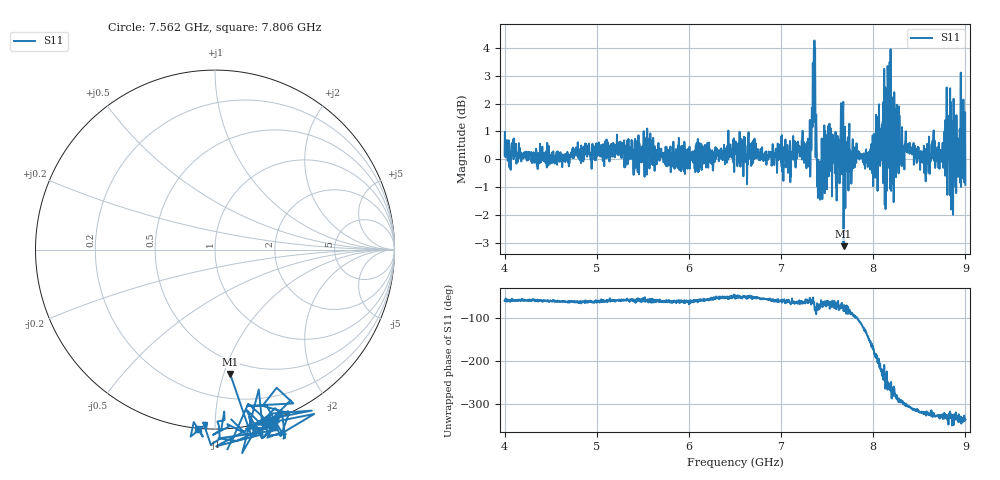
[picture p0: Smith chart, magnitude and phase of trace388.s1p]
! Created with skrf 1.8.0 (http://scikit-rf.org).
# Hz S RI R 50.0
!freq ReS11 ImS11
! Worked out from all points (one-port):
!   1601 points, 4 GHz to 9 GHz, reference 50 ohm
!   lowest |S11| = -3.1 dB at 7.678 GHz (marker M1), VSWR 5.62, Z = 19.5 - j52.6 ohm
!   |S11| at or under -10 dB: nowhere
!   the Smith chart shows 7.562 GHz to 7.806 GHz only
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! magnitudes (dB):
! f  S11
! 4 GHz  0.1
! 4.625 GHz  -0.3
! 5.25 GHz  0.2
! 5.875 GHz  -0.2
! 6.5 GHz  0.5
! 7.125 GHz  0.4
! 7.294 GHz  0.2
! 7.316 GHz  -0.6
! 7.347 GHz  3.1
! 7.359 GHz  1.3
! 7.412 GHz  -0.7
! 7.512 GHz  1.2
! 7.609 GHz  0.0
! 7.65 GHz  2.0
! 7.678 GHz  -3.1
! 7.75 GHz  -0.2
! 8 GHz  -1.0
! 8.097 GHz  0.1
! 8.147 GHz  0.9
! 8.178 GHz  3.5
! 8.197 GHz  1.1
! 8.228 GHz  2.4
! 8.375 GHz  0.6
! 8.578 GHz  0.1
! 8.816 GHz  0.0
! 8.9 GHz  -1.2
! 8.956 GHz  -0.1
! 9 GHz  -0.9
